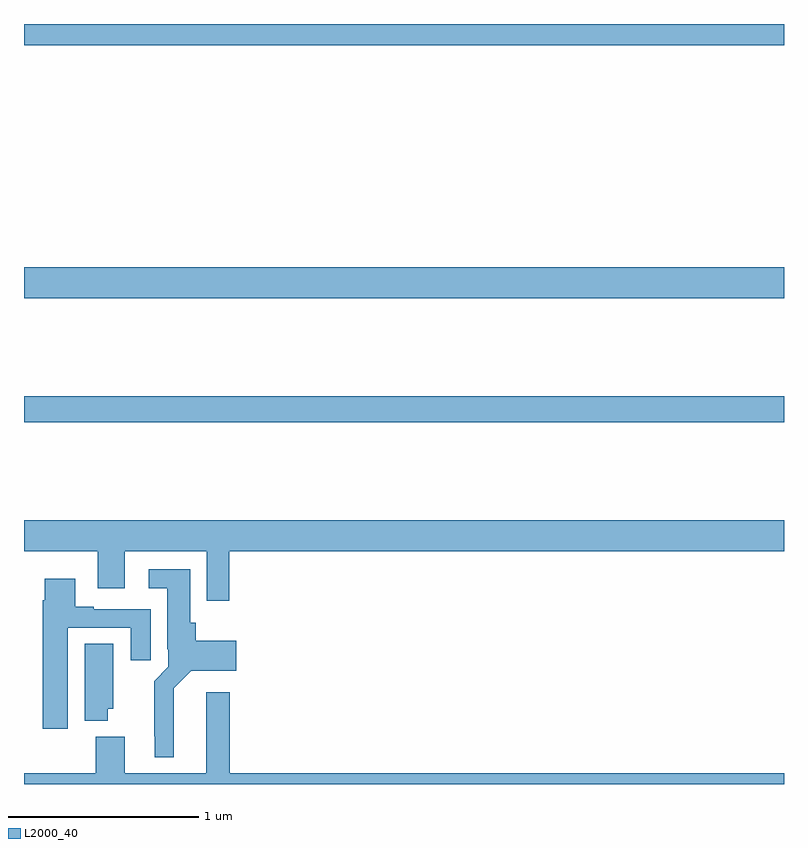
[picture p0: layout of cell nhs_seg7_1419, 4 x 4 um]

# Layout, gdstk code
import gdstk
lib = gdstk.Library(unit=1e-6, precision=1e-09)
def R(c, l, rs):  # rectangles x0, y0, x1, y1
    for r in rs: c.add(gdstk.rectangle(r[:2], r[2:], *l))
def P(c, l, *ps):  # polygons
    for p in ps: c.add(gdstk.Polygon(p, *l))
L2000_40 = (2000, 40)

nhs_seg7_1419 = lib.new_cell('nhs_seg7_1419')
R(nhs_seg7_1419, L2000_40, [(207,1059.904,211,1060.04), (207,1060.556,211,1060.72), (207,1061.888,211,1062)])
P(nhs_seg7_1419, L2000_40, [(208.079,1059.224),(211,1059.224),(211,1059.388),(207,1059.388),(207,1059.224),(207.389,1059.224),(207.389,1059.03),(207.529,1059.03),(207.529,1059.224),(207.963,1059.224),(207.963,1058.964),(208.079,1058.964)],
  [(207.787,1058.504),(207.879,1058.597),(208.117,1058.597),(208.117,1058.755),(207.905,1058.755),(207.905,1058.85),(207.874,1058.85),(207.874,1059.13),(207.657,1059.13),(207.657,1059.029),(207.755,1059.029),(207.755,1058.71),(207.759,1058.71),(207.759,1058.616),(207.685,1058.542),(207.685,1058.251),(207.689,1058.251),(207.689,1058.141),(207.787,1058.141)],
  [(207.229,1058.823),(207.563,1058.823),(207.563,1058.652),(207.667,1058.652),(207.667,1058.919),(207.367,1058.919),(207.367,1058.932),(207.271,1058.932),(207.271,1059.079),(207.11,1059.079),(207.11,1058.966),(207.098,1058.966),(207.098,1058.292),(207.229,1058.292)],
  [(207.442,1058.397),(207.469,1058.397),(207.469,1058.738),(207.32,1058.738),(207.32,1058.333),(207.442,1058.333)],
  [(211,1058.056),(208.082,1058.056),(208.082,1058.482),(207.959,1058.482),(207.959,1058.056),(207.529,1058.056),(207.529,1058.248),(207.377,1058.248),(207.377,1058.056),(207,1058.056),(207,1058),(211,1058)])

lib.write_gds('nhs_seg7_1419.gds')
